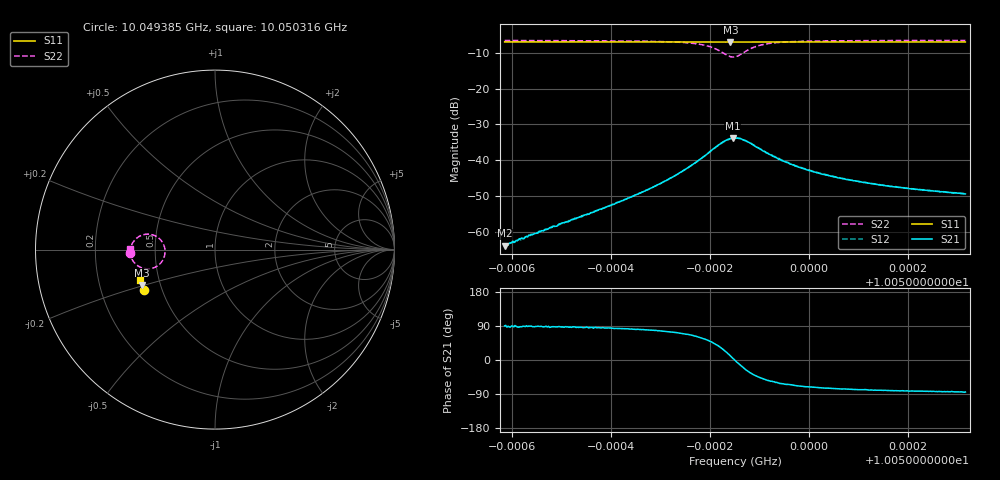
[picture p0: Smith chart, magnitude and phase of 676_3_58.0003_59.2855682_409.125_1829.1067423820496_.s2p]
#  HZ  S  RI  R  50.00
! Rohde & Schwarz Vector Network Analyzer
! Rohde-Schwarz,ZNB20-2Port,1311601062101988,3.16
! Created: UTC 3/21/2024, 1:20:40 AM
! freq[Hz]  re:S11  im:S11  re:S21  im:S21  re:S12  im:S12  re:S22  im:S22
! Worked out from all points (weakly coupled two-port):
!   401 points, 10.049385 GHz to 10.050316 GHz, reference 50 ohm
!   highest |S21| = -33.78 dB at 10.049846 GHz (marker M1); lowest = -64.0 dB at 10.049385 GHz (marker M2)
!   lowest |S11| = -6.9 dB at 10.049841 GHz (marker M3), VSWR 2.64, Z = 19.8 - j9.79 ohm
!   |S11| at or under -10 dB: nowhere
!   |S22| runs from -11.1 to -6.5 dB; largest |S21 - S12| = 0.0019
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1.00493852e10  -0.3945 -0.225  -3.67e-08 0.000631  -1.33e-05 0.000624  -0.4741 -0.0181
1.00494992e10  -0.3981 -0.2181  6.53e-05 0.0013  -1.83e-05 0.0013  -0.4728 -0.00448
1.00495411e10  -0.3993 -0.2157  0.000106 0.00161  2.21e-06 0.00167  -0.4719 0.00175
1.00496155e10  -0.4016 -0.211  0.000312 0.00257  0.000163 0.00258  -0.4686 0.0152
1.00496969e10  -0.4038 -0.2061  0.000999 0.00448  0.000771 0.00453  -0.4588 0.0377
1.00497481e10  -0.4052 -0.2027  0.00262 0.00681  0.00219 0.00692  -0.4402 0.0609
1.00497853e10  -0.4058 -0.2003  0.006 0.00926  0.00534 0.0095  -0.4046 0.0814
1.00498016e10  -0.406 -0.1992  0.00899 0.01  0.00827 0.0107  -0.3755 0.0861
1.00498179e10  -0.406 -0.1981  0.0132 0.00973  0.0125 0.0104  -0.3353 0.0776
1.00498412e10  -0.4057 -0.1972  0.0198 0.00373  0.0192 0.00531  -0.2818 0.0159
1.00498458e10  -0.4059 -0.1972  0.0204 0.00166  0.0201 0.00333  -0.2784 -0.00323
1.00498505e10  -0.4059 -0.1972  0.0204 -0.000391  0.0204 0.00143  -0.2791 -0.023
1.00498598e10  -0.4062 -0.1969  0.0197 -0.00417  0.0201 -0.00261  -0.2911 -0.0592
1.0049876e10  -0.4069 -0.1965  0.0158 -0.00882  0.0165 -0.00746  -0.3335 -0.0982
1.00498923e10  -0.4078 -0.1959  0.0116 -0.0103  0.0125 -0.00948  -0.3759 -0.1074
1.00499086e10  -0.4085 -0.1948  0.00853 -0.0102  0.00937 -0.00969  -0.4065 -0.1022
1.00499412e10  -0.4097 -0.193  0.00478 -0.009  0.0055 -0.00872  -0.4401 -0.0824
1.00499668e10  -0.4106 -0.1912  0.00352 -0.00782  0.00405 -0.0077  -0.453 -0.0683
1.00500063e10  -0.4118 -0.1889  0.0022 -0.00659  0.00265 -0.00655  -0.4633 -0.0518
1.00500784e10  -0.4139 -0.1844  0.00121 -0.0052  0.00152 -0.00516  -0.4707 -0.0314
1.00501622e10  -0.4159 -0.1791  0.000667 -0.00424  0.000981 -0.00425  -0.4739 -0.0162
1.00503157e10  -0.4197 -0.1698  0.000325 -0.00335  0.000538 -0.00338  -0.4754 0.00324
